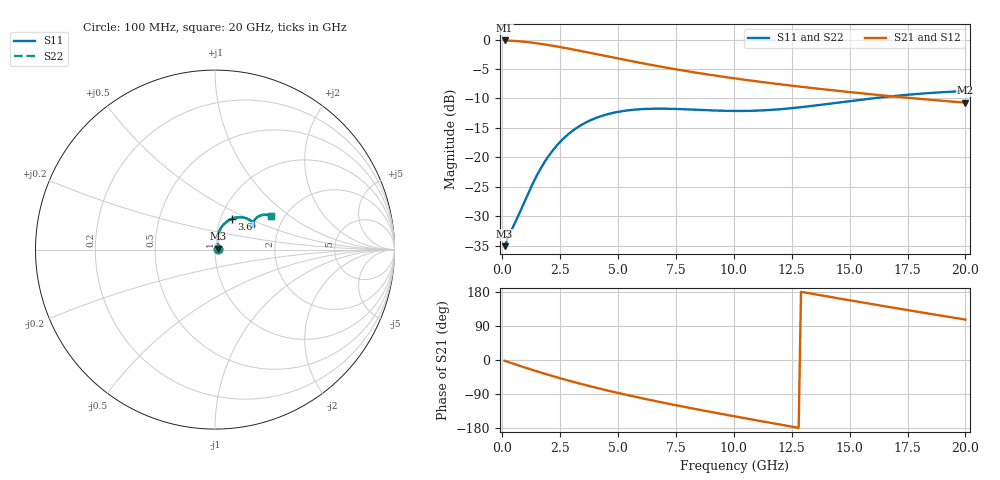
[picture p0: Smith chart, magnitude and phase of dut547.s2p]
! Touchstone file exported from HFSS 2024.1.0
!  File:  C:/UserFiles/LocalFiles/RDL_TSV_Batchsim/temp_RDL_TSV_547_1779748839.aedt
!  Generated:  06:55:19 AM May 26, 2026
!  Design:  RDL_TSV
!  Project:  temp_RDL_TSV_547_1779748839
!  Setup:  Setup1
!  Solution:  Sweep
! Variables:
!  dtsv = 9.87um
!  hbump = 3um
!  htsv = 66.45um
!  ldown = 623.82um
!  lrdl = 507.61um
!  p = 40
!  p1 = 47.42um
!  rhole = 10um
!  subl = 3901.9um
!  t = 450um
!  tdown = 3.94um
!  trdl = 4.59um
!  viad = 10um
!  wdown = 24.77um
!  wrdl = 16.67um
!  xbump = 18um
# GHz S MA R 50.000000
! Terminal data exported
! Port[1] = TM1_1_T1
! Port[2] = TM1_4_T1
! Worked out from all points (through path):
!   200 points, 100 MHz to 20 GHz, reference 50 ohm
!   highest |S21| = -0.15 dB at 100 MHz (marker M1); lowest = -10.7 dB at 20 GHz (marker M2)
!   group delay of S21, straight-line fit = 33.5 ps
!   lowest |S11| = -35.1 dB at 100 MHz (marker M3), VSWR 1.04, Z = 51.7 + j0.484 ohm
!   |S11| at or under -10 dB: start of sweep to 15.96 GHz
!   |S22| runs from -35.1 to -8.8 dB; largest |S21 - S12| = 7.5e-15
!   S11 on the Smith chart (normalised r, x): 100 MHz: 1.03, +0.01; 3.6 GHz: 1.13, +0.41; 20 GHz: 1.72, +0.74
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0.1  0.01758 15.4  0.9827 -2.1  0.9827 -2.1  0.01758 15.4
! Gamma 0 0 0 0
! Port Impedance 50 0 50 0
0.5  0.02654 47.5  0.9741 -10.4  0.9741 -10.4  0.02654 47.5
0.9  0.03948 66.6  0.96 -18.4  0.96 -18.4  0.03949 66.5
1.4  0.06463 76.9  0.9352 -28.1  0.9352 -28.1  0.0646 76.8
1.9  0.09597 77.7  0.9046 -37.5  0.9046 -37.5  0.09588 77.5
2.6  0.1417 72.2  0.8565 -49.9  0.8565 -49.9  0.1415 72.1
3  0.1659 67.8  0.8278 -56.6  0.8278 -56.6  0.1656 67.7
3.5  0.1924 62.1  0.7919 -64.7  0.7919 -64.7  0.192 62.0
3.6  0.1972 61.0  0.7848 -66.3  0.7848 -66.3  0.1967 60.9
4.3  0.2248 53.5  0.7362 -76.9  0.7362 -76.9  0.2242 53.3
5.2  0.247 45.1  0.6782 -89.8  0.6782 -89.8  0.2461 44.9
6  0.2564 39.2  0.6319 -100.5  0.6319 -100.5  0.2554 39.0
6.8  0.2589 34.8  0.5907 -110.7  0.5907 -110.7  0.2577 34.7
7.6  0.257 31.9  0.5544 -120.6  0.5544 -120.6  0.2557 31.8
8.4  0.2532 30.4  0.5224 -130.0  0.5224 -130.0  0.2518 30.2
10.1  0.2475 30.9  0.466 -149.5  0.466 -149.5  0.2458 30.9
11.7  0.2534 34.0  0.4239 -167.1  0.4239 -167.1  0.2518 34.0
13.4  0.2736 36.8  0.3871 174.5  0.3871 174.5  0.2721 36.9
15.1  0.3017 37.3  0.3562 156.5  0.3562 156.5  0.3003 37.5
16.7  0.3282 36.0  0.3315 139.9  0.3315 139.9  0.3269 36.1
18.3  0.3498 33.6  0.3102 123.6  0.3102 123.6  0.3486 33.7
20  0.3651 30.7  0.2912 106.6  0.2912 106.6  0.364 30.8
